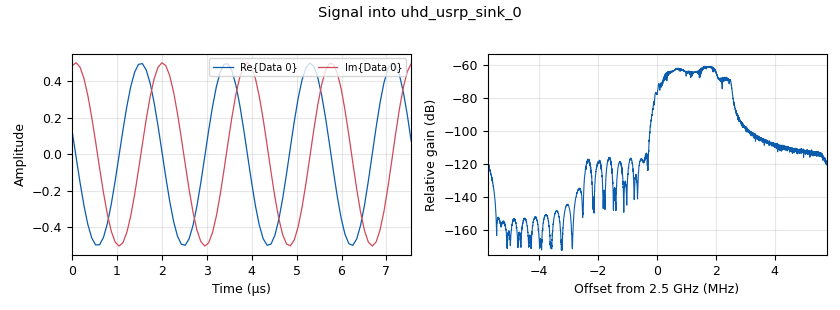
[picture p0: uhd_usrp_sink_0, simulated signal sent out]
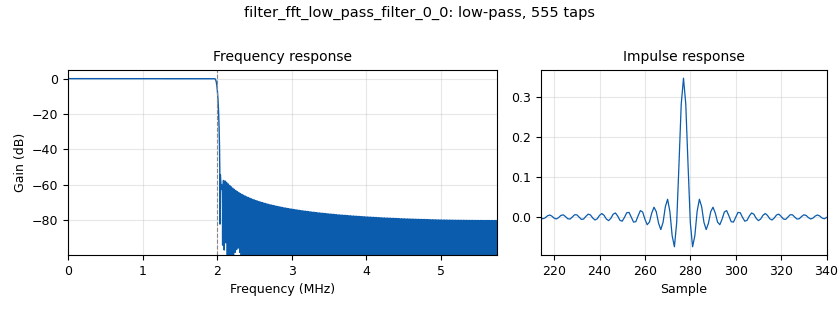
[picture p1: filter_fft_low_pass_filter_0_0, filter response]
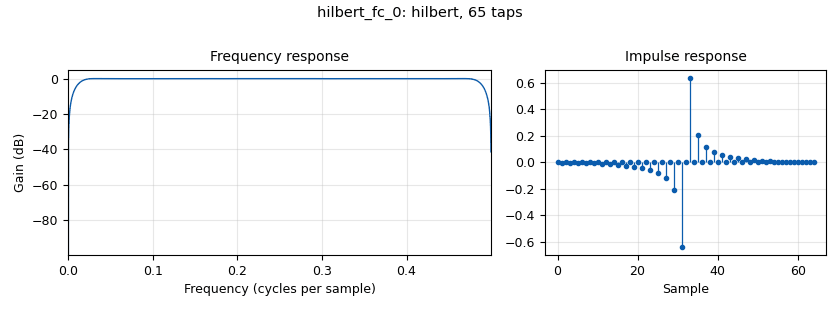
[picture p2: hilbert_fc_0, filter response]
options:
  parameters:
    generate_options: qt_gui
    id: cwfmRadar
    output_language: python
    title: Not titled yet
  states: {}

blocks:
- name: freq
  id: variable
  parameters:
    value: 2500e6
  states: {}
- name: samp_rate
  id: variable
  parameters:
    value: 11.52e6
  states: {}
- name: analog_sig_source_x_0
  id: analog_sig_source_x
  parameters:
    amp: '4'
    freq: '2000'
    offset: '0'
    phase: '0'
    samp_rate: samp_rate
    type: float
    waveform: analog.GR_SAW_WAVE
  states: {}
- name: blocks_add_xx_0
  id: blocks_add_xx
  parameters:
    type: complex
  states: {}
- name: blocks_complex_to_real_0
  id: blocks_complex_to_real
  parameters: {}
  states: {}
- name: blocks_delay_0_0
  id: blocks_delay
  parameters:
    delay: '1000'
    type: complex
  states: {state: disabled}
- name: blocks_delay_0_0_0
  id: blocks_delay
  parameters:
    delay: '2000'
    type: complex
  states: {}
- name: blocks_delay_0_0_1
  id: blocks_delay
  parameters:
    delay: '1000'
    type: complex
  states: {}
- name: blocks_multiply_xx_0
  id: blocks_multiply_xx
  parameters:
    type: float
  states: {}
- name: blocks_stream_to_vector_0
  id: blocks_stream_to_vector
  parameters:
    num_items: '1024'
    type: float
  states: {state: disabled}
- name: blocks_vco_f_0
  id: blocks_vco_f
  parameters:
    amplitude: '0.5'
    samp_rate: samp_rate
    sensitivity: '4000000'
  states: {}
- name: filter_fft_low_pass_filter_0_0
  id: filter_fft_low_pass_filter
  parameters:
    cutoff_freq: '2000000'
    decim: '1'
    gain: '1'
    nthreads: '4'
    samp_rate: samp_rate
    type: fff
    width: '50000'
    win: window.WIN_HAMMING
  states: {}
- name: hilbert_fc_0
  id: hilbert_fc
  parameters:
    num_taps: '64'
  states: {}
- name: qtgui_time_sink_x_0_0_0
  id: qtgui_time_sink_x
  parameters:
    autoscale: 'True'
    ctrlpanel: 'True'
    entags: 'False'
    label1: 'TX '
    label2: RX
    name: '"TX time signal"'
    nconnections: '2'
    size: '1024'
    srate: samp_rate
    tr_mode: qtgui.TRIG_MODE_AUTO
    type: float
  states: {state: disabled}
- name: qtgui_waterfall_sink_x_0_0_0
  id: qtgui_waterfall_sink_x
  parameters:
    bw: '2000000'
    fc: '0'
    fftsize: '1024'
    name: '"RX Real Signal"'
    type: float
  states: {}
- name: uhd_usrp_sink_0
  id: uhd_usrp_sink
  parameters:
    ant0: '"TX/RX"'
    bw0: samp_rate*2
    center_freq0: freq
    dev_addr: ''
    dev_args: num_send_frames=512,num_recv_frames=512
    gain0: '1'
    gain_type0: normalized
    samp_rate: samp_rate
    sync: pc_clock
    type: fc32
  states: {}
- name: uhd_usrp_source_0
  id: uhd_usrp_source
  parameters:
    ant0: '"RX2"'
    bw0: samp_rate*2
    center_freq0: freq
    dev_addr: ''
    dev_args: num_send_frames=512,num_recv_frames=512
    rx_agc0: Enabled
    samp_rate: samp_rate
    sync: pc_clock
    type: fc32
  states: {}
- name: zeromq_pub_sink_0
  id: zeromq_pub_sink
  parameters:
    address: tcp://127.0.0.1:5555
    timeout: '100'
    type: float
    vlen: '1024'
  states: {state: disabled}

connections:
- [analog_sig_source_x_0, '0', blocks_vco_f_0, '0']
- [blocks_add_xx_0, '0', blocks_complex_to_real_0, '0']
- [blocks_complex_to_real_0, '0', blocks_multiply_xx_0, '1']
- [blocks_complex_to_real_0, '0', qtgui_time_sink_x_0_0_0, '1']
- [blocks_delay_0_0_0, '0', blocks_add_xx_0, '1']
- [blocks_delay_0_0_1, '0', blocks_add_xx_0, '0']
- [blocks_multiply_xx_0, '0', blocks_stream_to_vector_0, '0']
- [blocks_multiply_xx_0, '0', filter_fft_low_pass_filter_0_0, '0']
- [blocks_stream_to_vector_0, '0', zeromq_pub_sink_0, '0']
- [blocks_vco_f_0, '0', blocks_multiply_xx_0, '0']
- [blocks_vco_f_0, '0', hilbert_fc_0, '0']
- [blocks_vco_f_0, '0', qtgui_time_sink_x_0_0_0, '0']
- [filter_fft_low_pass_filter_0_0, '0', qtgui_waterfall_sink_x_0_0_0, '0']
- [hilbert_fc_0, '0', uhd_usrp_sink_0, '0']
- [uhd_usrp_source_0, '0', blocks_delay_0_0, '0']
- [uhd_usrp_source_0, '0', blocks_delay_0_0_0, '0']
- [uhd_usrp_source_0, '0', blocks_delay_0_0_1, '0']

metadata:
  file_format: 1
  grc_version: 3.10.7.0
